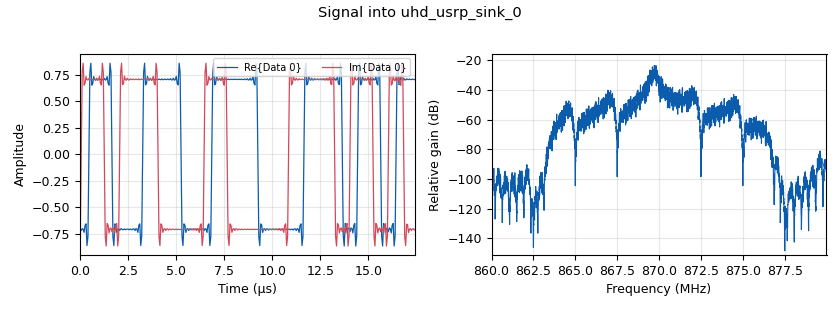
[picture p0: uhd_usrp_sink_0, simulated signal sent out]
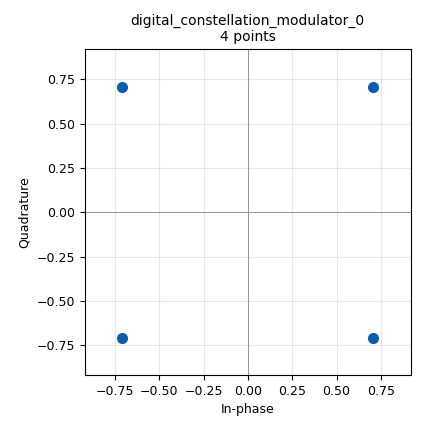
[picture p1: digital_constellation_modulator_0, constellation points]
options:
  parameters:
    author: yewentai
    generate_options: qt_gui
    id: tx
    output_language: python
    title: Not titled yet
  states: {}

blocks:
- name: Bandwidth
  id: variable_qtgui_range
  parameters:
    start: 200e3
    step: '100'
    stop: 56e6
    value: 20e6
  states: {}
- name: Frequency
  id: variable_qtgui_range
  parameters:
    start: 70e6
    step: '1000'
    stop: 6000e6
    value: 870e6
  states: {}
- name: RF_Gain
  id: variable_qtgui_range
  parameters:
    start: '0'
    step: '1'
    stop: '40'
    value: '10'
  states: {}
- name: encoder
  id: variable_constellation
  parameters:
    const_points: '[-1-1j, -1+1j, 1+1j, 1-1j]'
    dims: '1'
    normalization: digital.constellation.AMPLITUDE_NORMALIZATION
    precision: '8'
    rot_sym: '4'
    sym_map: '[0, 1, 3, 2]'
    type: calcdist
  states: {}
- name: samp_rate
  id: variable
  parameters:
    value: '25000'
  states: {}
- name: analog_random_source_x_0
  id: analog_random_source_x
  parameters:
    max: '2'
    min: '0'
    num_samps: '1000'
    repeat: 'True'
    type: byte
  states: {}
- name: digital_constellation_modulator_0
  id: digital_constellation_modulator
  parameters:
    constellation: encoder
    differential: 'True'
    excess_bw: '0.35'
    samples_per_symbol: '2'
  states: {}
- name: uhd_usrp_sink_0
  id: uhd_usrp_sink
  parameters:
    ant0: '"TX/RX"'
    bw0: Bandwidth
    center_freq0: Frequency
    dev_addr: '"serial="'
    gain0: RF_Gain
    samp_rate: Bandwidth
    sync: none
    type: fc32
  states: {}

connections:
- [analog_random_source_x_0, '0', digital_constellation_modulator_0, '0']
- [digital_constellation_modulator_0, '0', uhd_usrp_sink_0, '0']

metadata:
  file_format: 1
  grc_version: 3.10.9.2
